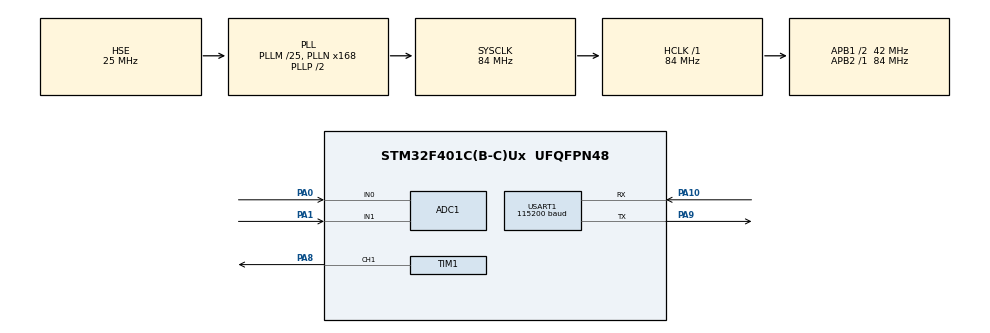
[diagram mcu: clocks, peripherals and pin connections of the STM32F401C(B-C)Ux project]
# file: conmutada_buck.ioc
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ADC1.Channel-0\#ChannelRegularConversion=ADC_CHANNEL_0
ADC1.Channel-1\#ChannelRegularConversion=ADC_CHANNEL_1
ADC1.EOCSelection=ADC_EOC_SEQ_CONV
ADC1.NbrOfConversion=2
ADC1.NbrOfConversionFlag=1
ADC1.Rank-0\#ChannelRegularConversion=1
ADC1.Rank-1\#ChannelRegularConversion=2
ADC1.SamplingTime-0\#ChannelRegularConversion=ADC_SAMPLETIME_15CYCLES
ADC1.SamplingTime-1\#ChannelRegularConversion=ADC_SAMPLETIME_15CYCLES
ADC1.master=1
Dma.ADC1.0.Direction=DMA_PERIPH_TO_MEMORY
Dma.ADC1.0.FIFOMode=DMA_FIFOMODE_DISABLE
Dma.ADC1.0.Instance=DMA2_Stream0
Dma.ADC1.0.MemDataAlignment=DMA_MDATAALIGN_HALFWORD
Dma.ADC1.0.MemInc=DMA_MINC_ENABLE
Dma.ADC1.0.Mode=DMA_NORMAL
Dma.ADC1.0.PeriphDataAlignment=DMA_PDATAALIGN_HALFWORD
Dma.ADC1.0.PeriphInc=DMA_PINC_DISABLE
Dma.ADC1.0.Priority=DMA_PRIORITY_LOW
Dma.Request0=ADC1
Mcu.Family=STM32F4
Mcu.Name=STM32F401C(B-C)Ux
Mcu.Package=UFQFPN48
NVIC.DMA2_Stream0_IRQn=true\:0\:0\:false\:false\:true\:false\:true\:true
NVIC.PriorityGroup=NVIC_PRIORITYGROUP_4
NVIC.TIM3_IRQn=true\:0\:0\:false\:false\:true\:true\:true\:true
PA0-WKUP.Signal=ADCx_IN0
PA1.Signal=ADCx_IN1
PA10.Mode=Asynchronous
PA10.Signal=USART1_RX
PA8.Signal=S_TIM1_CH1
PA9.Mode=Asynchronous
PA9.Signal=USART1_TX
PH0\ -\ OSC_IN.Mode=HSE-External-Oscillator
PH0\ -\ OSC_IN.Signal=RCC_OSC_IN
PH1\ -\ OSC_OUT.Mode=HSE-External-Oscillator
PH1\ -\ OSC_OUT.Signal=RCC_OSC_OUT
ProjectManager.HeapSize=0x200
ProjectManager.StackSize=0x400
ProjectManager.TargetToolchain=STM32CubeIDE
RCC.48MHZClocksFreq_Value=42000000
RCC.AHBFreq_Value=84000000
RCC.APB1CLKDivider=RCC_HCLK_DIV2
RCC.APB1Freq_Value=42000000
RCC.APB1TimFreq_Value=84000000
RCC.APB2Freq_Value=84000000
RCC.APB2TimFreq_Value=84000000
RCC.CortexFreq_Value=84000000
RCC.HCLKFreq_Value=84000000
RCC.HSE_VALUE=25000000
RCC.HSI_VALUE=16000000
RCC.LSE_VALUE=32768
RCC.PLLM=25
RCC.PLLN=168
RCC.PLLSourceVirtual=RCC_PLLSOURCE_HSE
RCC.SYSCLKFreq_VALUE=84000000
RCC.SYSCLKSource=RCC_SYSCLKSOURCE_PLLCLK
RCC.VCOOutputFreq_Value=168000000
SH.ADCx_IN0.0=ADC1_IN0,IN0
SH.ADCx_IN1.0=ADC1_IN1,IN1
SH.S_TIM1_CH1.0=TIM1_CH1,PWM Generation1 CH1
TIM1.AutoReloadPreload=TIM_AUTORELOAD_PRELOAD_ENABLE
TIM1.Channel-PWM\ Generation1\ CH1=TIM_CHANNEL_1
TIM1.OCIdleState_1=TIM_OCIDLESTATE_SET
TIM1.OCMode_PWM-PWM\ Generation1\ CH1=TIM_OCMODE_PWM2
TIM1.Period=840
TIM2.Prescaler=84-1
TIM3.Period=1000
TIM3.Prescaler=840-1
USART1.BaudRate=115200
USART1.VirtualMode=VM_ASYNC
VP_TIM1_VS_ClockSourceINT.Mode=Internal
VP_TIM2_VS_ClockSourceINT.Mode=Internal
VP_TIM3_VS_ClockSourceINT.Mode=Internal
board=custom

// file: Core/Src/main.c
/* USER CODE BEGIN Header */
/**
  ******************************************************************************
  * @file           : main.c
  * @brief          : Main program body
  ******************************************************************************
  * @attention
  *
  * Copyright (c) 2025 STMicroelectronics.
  * All rights reserved.
  *
  * This software is licensed under terms that can be found in the LICENSE file
  * in the root directory of this software component.
  * If no LICENSE file comes with this software, it is provided AS-IS.
  *
  ******************************************************************************
  */
/* USER CODE END Header */
#include "main.h"

/* USER CODE BEGIN Includes */
#include "uart.h"
#include "adc_x.h"
#include "PWMB.h"
#include "PID.h"

#include "stdint.h"
#include "stdio.h"
#include "stdlib.h"
#include "math.h"
#include "string.h"
/* USER CODE END Includes */

ADC_HandleTypeDef hadc1;
DMA_HandleTypeDef hdma_adc1;

TIM_HandleTypeDef htim1;
TIM_HandleTypeDef htim2;
TIM_HandleTypeDef htim3;

UART_HandleTypeDef huart1;

/* USER CODE BEGIN PV */
char texto[100];
uint16_t codigo;
float voltaje;

/* USER CODE END PV */

void SystemClock_Config(void);
static void MX_GPIO_Init(void);
static void MX_DMA_Init(void);
static void MX_ADC1_Init(void);
static void MX_TIM1_Init(void);
static void MX_USART1_UART_Init(void);
static void MX_TIM2_Init(void);
static void MX_TIM3_Init(void);

int main(void)
{

  /* MCU Configuration--------------------------------------------------------*/

  /* Reset of all peripherals, Initializes the Flash interface and the Systick. */
  HAL_Init();

  /* Configure the system clock */
  SystemClock_Config();

  /* Initialize all configured peripherals */
  MX_GPIO_Init();
  MX_DMA_Init();
  MX_ADC1_Init();
  MX_TIM1_Init();
  MX_USART1_UART_Init();
  MX_TIM2_Init();
  MX_TIM3_Init();
  /* USER CODE BEGIN 2 */
   uartx_write_text(&huart1, "INICIANDO\r\n");
   PWM_init(&PWM1);
 //  PWM_valor(&PWM1, 700);
   HAL_TIM_Base_Start_IT(&htim3);

  /* USER CODE END 2 */

  /* Infinite loop */
  /* USER CODE BEGIN WHILE */
  while (1)
  {
	 // codigo=ADC_Read(&hadc1);

	/*
	  HAL_TIM_Base_Start(&htim2);
	  TIM2->CNT=0;

	  ADC_Read_DMA(&hadc1);
	  voltaje=adc_codigo[0]*3.3/4095.0;
	  voltaje=voltaje*8.1439;
     float setpoint=adc_codigo[1]*21/4095.0;
     PID_Control(12.5);
     PWM_valor(&PWM1, 0);
     uint32_t  tiempo=TIM2->CNT;
     	  sprintf(texto ,"TIM=%lu\r\n",tiempo);
     	 uartx_write_text(&huart1, texto);
*/
	  sprintf(texto ,"VOL=%.1f   SET=%.1f\r\n\r\n",voltaje,setpoint);
    //uartx_write_text(&huart1, texto);

    // sprintf(texto ,"VOL=%.1f  SET=%.1f  UT=%.1f\r\n\r\n",voltaje,setpoint,ut);
    	 sprintf(texto,"%.1f,%.1f\r",setpoint,voltaje);
    	 uartx_write_text(&huart1, texto);
         HAL_Delay(1);

    /* USER CODE END WHILE */

  }
}

void SystemClock_Config(void)
{
  RCC_OscInitTypeDef RCC_OscInitStruct = {0};
  RCC_ClkInitTypeDef RCC_ClkInitStruct = {0};

  /** Configure the main internal regulator output voltage
  */
  __HAL_RCC_PWR_CLK_ENABLE();
  __HAL_PWR_VOLTAGESCALING_CONFIG(PWR_REGULATOR_VOLTAGE_SCALE2);

  /** Initializes the RCC Oscillators according to the specified parameters
  * in the RCC_OscInitTypeDef structure.
  */
  RCC_OscInitStruct.OscillatorType = RCC_OSCILLATORTYPE_HSE;
  RCC_OscInitStruct.HSEState = RCC_HSE_ON;
  RCC_OscInitStruct.PLL.PLLState = RCC_PLL_ON;
  RCC_OscInitStruct.PLL.PLLSource = RCC_PLLSOURCE_HSE;
  RCC_OscInitStruct.PLL.PLLM = 25;
  RCC_OscInitStruct.PLL.PLLN = 168;
  RCC_OscInitStruct.PLL.PLLP = RCC_PLLP_DIV2;
  RCC_OscInitStruct.PLL.PLLQ = 4;
  if (HAL_RCC_OscConfig(&RCC_OscInitStruct) != HAL_OK)
  {
    Error_Handler();
  }

  /** Initializes the CPU, AHB and APB buses clocks
  */
  RCC_ClkInitStruct.ClockType = RCC_CLOCKTYPE_HCLK|RCC_CLOCKTYPE_SYSCLK
                              |RCC_CLOCKTYPE_PCLK1|RCC_CLOCKTYPE_PCLK2;
  RCC_ClkInitStruct.SYSCLKSource = RCC_SYSCLKSOURCE_PLLCLK;
  RCC_ClkInitStruct.AHBCLKDivider = RCC_SYSCLK_DIV1;
  RCC_ClkInitStruct.APB1CLKDivider = RCC_HCLK_DIV2;
  RCC_ClkInitStruct.APB2CLKDivider = RCC_HCLK_DIV1;

  if (HAL_RCC_ClockConfig(&RCC_ClkInitStruct, FLASH_LATENCY_2) != HAL_OK)
  {
    Error_Handler();
  }
}

static void MX_ADC1_Init(void)
{

  ADC_ChannelConfTypeDef sConfig = {0};

  /** Configure the global features of the ADC (Clock, Resolution, Data Alignment and number of conversion)
  */
  hadc1.Instance = ADC1;
  hadc1.Init.ClockPrescaler = ADC_CLOCK_SYNC_PCLK_DIV4;
  hadc1.Init.Resolution = ADC_RESOLUTION_12B;
  hadc1.Init.ScanConvMode = ENABLE;
  hadc1.Init.ContinuousConvMode = DISABLE;
  hadc1.Init.DiscontinuousConvMode = DISABLE;
  hadc1.Init.ExternalTrigConvEdge = ADC_EXTERNALTRIGCONVEDGE_NONE;
  hadc1.Init.ExternalTrigConv = ADC_SOFTWARE_START;
  hadc1.Init.DataAlign = ADC_DATAALIGN_RIGHT;
  hadc1.Init.NbrOfConversion = 2;
  hadc1.Init.DMAContinuousRequests = DISABLE;
  hadc1.Init.EOCSelection = ADC_EOC_SEQ_CONV;
  if (HAL_ADC_Init(&hadc1) != HAL_OK)
  {
    Error_Handler();
  }

  /** Configure for the selected ADC regular channel its corresponding rank in the sequencer and its sample time.
  */
  sConfig.Channel = ADC_CHANNEL_0;
  sConfig.Rank = 1;
  sConfig.SamplingTime = ADC_SAMPLETIME_15CYCLES;
  if (HAL_ADC_ConfigChannel(&hadc1, &sConfig) != HAL_OK)
  {
    Error_Handler();
  }

  /** Configure for the selected ADC regular channel its corresponding rank in the sequencer and its sample time.
  */
  sConfig.Channel = ADC_CHANNEL_1;
  sConfig.Rank = 2;
  if (HAL_ADC_ConfigChannel(&hadc1, &sConfig) != HAL_OK)
  {
    Error_Handler();
  }

}

static void MX_TIM1_Init(void)
{

  TIM_ClockConfigTypeDef sClockSourceConfig = {0};
  TIM_MasterConfigTypeDef sMasterConfig = {0};
  TIM_OC_InitTypeDef sConfigOC = {0};
  TIM_BreakDeadTimeConfigTypeDef sBreakDeadTimeConfig = {0};

  htim1.Instance = TIM1;
  htim1.Init.Prescaler = 0;
  htim1.Init.CounterMode = TIM_COUNTERMODE_UP;
  htim1.Init.Period = 840;
  htim1.Init.ClockDivision = TIM_CLOCKDIVISION_DIV1;
  htim1.Init.RepetitionCounter = 0;
  htim1.Init.AutoReloadPreload = TIM_AUTORELOAD_PRELOAD_ENABLE;
  if (HAL_TIM_Base_Init(&htim1) != HAL_OK)
  {
    Error_Handler();
  }
  sClockSourceConfig.ClockSource = TIM_CLOCKSOURCE_INTERNAL;
  if (HAL_TIM_ConfigClockSource(&htim1, &sClockSourceConfig) != HAL_OK)
  {
    Error_Handler();
  }
  if (HAL_TIM_PWM_Init(&htim1) != HAL_OK)
  {
    Error_Handler();
  }
  sMasterConfig.MasterOutputTrigger = TIM_TRGO_RESET;
  sMasterConfig.MasterSlaveMode = TIM_MASTERSLAVEMODE_DISABLE;
  if (HAL_TIMEx_MasterConfigSynchronization(&htim1, &sMasterConfig) != HAL_OK)
  {
    Error_Handler();
  }
  sConfigOC.OCMode = TIM_OCMODE_PWM2;
  sConfigOC.Pulse = 0;
  sConfigOC.OCPolarity = TIM_OCPOLARITY_HIGH;
  sConfigOC.OCNPolarity = TIM_OCNPOLARITY_HIGH;
  sConfigOC.OCFastMode = TIM_OCFAST_DISABLE;
  sConfigOC.OCIdleState = TIM_OCIDLESTATE_SET;
  sConfigOC.OCNIdleState = TIM_OCNIDLESTATE_RESET;
  if (HAL_TIM_PWM_ConfigChannel(&htim1, &sConfigOC, TIM_CHANNEL_1) != HAL_OK)
  {
    Error_Handler();
  }
  sBreakDeadTimeConfig.OffStateRunMode = TIM_OSSR_DISABLE;
  sBreakDeadTimeConfig.OffStateIDLEMode = TIM_OSSI_DISABLE;
  sBreakDeadTimeConfig.LockLevel = TIM_LOCKLEVEL_OFF;
  sBreakDeadTimeConfig.DeadTime = 0;
  sBreakDeadTimeConfig.BreakState = TIM_BREAK_DISABLE;
  sBreakDeadTimeConfig.BreakPolarity = TIM_BREAKPOLARITY_HIGH;
  sBreakDeadTimeConfig.AutomaticOutput = TIM_AUTOMATICOUTPUT_DISABLE;
  if (HAL_TIMEx_ConfigBreakDeadTime(&htim1, &sBreakDeadTimeConfig) != HAL_OK)
  {
    Error_Handler();
  }
  HAL_TIM_MspPostInit(&htim1);

}

static void MX_TIM2_Init(void)
{

  TIM_ClockConfigTypeDef sClockSourceConfig = {0};
  TIM_MasterConfigTypeDef sMasterConfig = {0};

  htim2.Instance = TIM2;
  htim2.Init.Prescaler = 84-1;
  htim2.Init.CounterMode = TIM_COUNTERMODE_UP;
  htim2.Init.Period = 4294967295;
  htim2.Init.ClockDivision = TIM_CLOCKDIVISION_DIV1;
  htim2.Init.AutoReloadPreload = TIM_AUTORELOAD_PRELOAD_DISABLE;
  if (HAL_TIM_Base_Init(&htim2) != HAL_OK)
  {
    Error_Handler();
  }
  sClockSourceConfig.ClockSource = TIM_CLOCKSOURCE_INTERNAL;
  if (HAL_TIM_ConfigClockSource(&htim2, &sClockSourceConfig) != HAL_OK)
  {
    Error_Handler();
  }
  sMasterConfig.MasterOutputTrigger = TIM_TRGO_RESET;
  sMasterConfig.MasterSlaveMode = TIM_MASTERSLAVEMODE_DISABLE;
  if (HAL_TIMEx_MasterConfigSynchronization(&htim2, &sMasterConfig) != HAL_OK)
  {
    Error_Handler();
  }

}

static void MX_TIM3_Init(void)
{

  TIM_ClockConfigTypeDef sClockSourceConfig = {0};
  TIM_MasterConfigTypeDef sMasterConfig = {0};

  htim3.Instance = TIM3;
  htim3.Init.Prescaler = 840-1;
  htim3.Init.CounterMode = TIM_COUNTERMODE_UP;
  htim3.Init.Period = 1000;
  htim3.Init.ClockDivision = TIM_CLOCKDIVISION_DIV1;
  htim3.Init.AutoReloadPreload = TIM_AUTORELOAD_PRELOAD_DISABLE;
  if (HAL_TIM_Base_Init(&htim3) != HAL_OK)
  {
    Error_Handler();
  }
  sClockSourceConfig.ClockSource = TIM_CLOCKSOURCE_INTERNAL;
  if (HAL_TIM_ConfigClockSource(&htim3, &sClockSourceConfig) != HAL_OK)
  {
    Error_Handler();
  }
  sMasterConfig.MasterOutputTrigger = TIM_TRGO_RESET;
  sMasterConfig.MasterSlaveMode = TIM_MASTERSLAVEMODE_DISABLE;
  if (HAL_TIMEx_MasterConfigSynchronization(&htim3, &sMasterConfig) != HAL_OK)
  {
    Error_Handler();
  }

}

static void MX_USART1_UART_Init(void)
{

  huart1.Instance = USART1;
  huart1.Init.BaudRate = 115200;
  huart1.Init.WordLength = UART_WORDLENGTH_8B;
  huart1.Init.StopBits = UART_STOPBITS_1;
  huart1.Init.Parity = UART_PARITY_NONE;
  huart1.Init.Mode = UART_MODE_TX_RX;
  huart1.Init.HwFlowCtl = UART_HWCONTROL_NONE;
  huart1.Init.OverSampling = UART_OVERSAMPLING_16;
  if (HAL_UART_Init(&huart1) != HAL_OK)
  {
    Error_Handler();
  }

}

static void MX_DMA_Init(void)
{

  /* DMA controller clock enable */
  __HAL_RCC_DMA2_CLK_ENABLE();

  /* DMA interrupt init */
  /* DMA2_Stream0_IRQn interrupt configuration */
  HAL_NVIC_SetPriority(DMA2_Stream0_IRQn, 0, 0);
  HAL_NVIC_EnableIRQ(DMA2_Stream0_IRQn);

}

static void MX_GPIO_Init(void)
{

  /* GPIO Ports Clock Enable */
  __HAL_RCC_GPIOH_CLK_ENABLE();
  __HAL_RCC_GPIOA_CLK_ENABLE();

}

void Error_Handler(void)
{
  __disable_irq();
  while (1)
  {
  }
}
